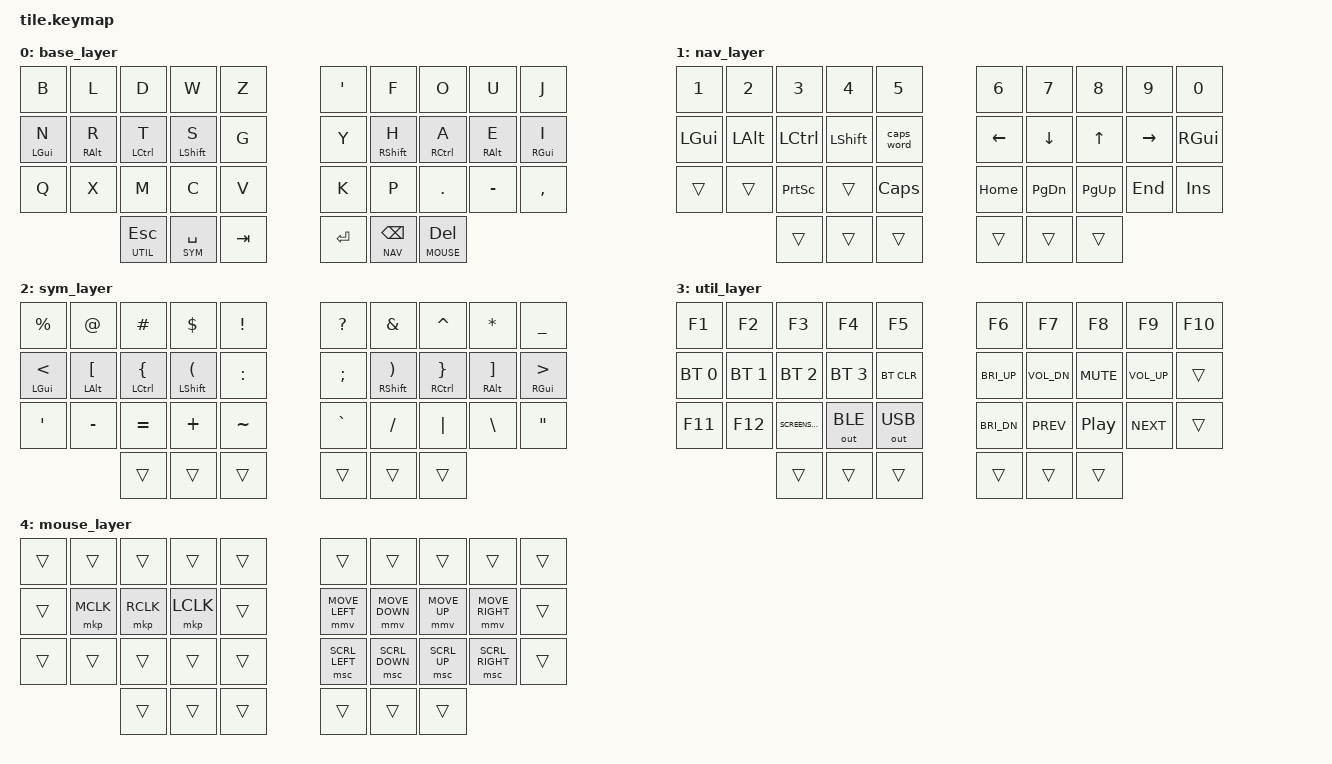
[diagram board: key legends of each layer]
#include <behaviors.dtsi>
#include <dt-bindings/zmk/keys.h>
#include <dt-bindings/zmk/bt.h>
#include <dt-bindings/zmk/outputs.h>

#define ZMK_POINTING_DEFAULT_MOVE_VAL 1000  
#define ZMK_POINTING_DEFAULT_SCRL_VAL 15
#include <dt-bindings/zmk/pointing.h>

#define BASE  0
#define NAV   1
#define SYM   2
#define UTIL  3
#define MOUSE 4

/ {
    behaviors {
        hm: homerow_mods {
            compatible = "zmk,behavior-hold-tap";
            label = "HOMEROW_MODS";
            #binding-cells = <2>;
            tapping-term-ms = <300>;
            quick-tap-ms = <0>;
            flavor = "tap-preferred";
            bindings = <&kp>, <&kp>;
            require-prior-idle-ms = <150>; 
        };
    };

    keymap {
        compatible = "zmk,keymap";

        // =================================================================================================================================
        // BASE LAYER
        // =================================================================================================================================
        base_layer {
            bindings = <
            &kp B         &kp L            &kp D         &kp W          &kp Z             &kp SQT         &kp F               &kp O                &kp U             &kp J
            &hm LGUI N    &hm RALT R       &hm LCTRL T   &hm LSHFT S    &kp G             &kp Y           &hm RSHFT H         &hm RCTRL A          &hm RALT E        &hm RGUI I
            &kp Q         &kp X            &kp M         &kp C          &kp V             &kp K           &kp P               &kp DOT              &kp MINUS         &kp COMMA
                                           &lt UTIL ESC  &lt SYM SPACE  &kp TAB           &kp RET         &lt NAV BSPC        &lt MOUSE DEL
            >;
        };

        // =================================================================================================================================
        // NAV LAYER
        // =================================================================================================================================
        nav_layer {
            bindings = <
            &kp N1        &kp N2           &kp N3        &kp N4         &kp N5           &kp N6           &kp N7           &kp N8           &kp N9           &kp N0
            &kp LGUI      &kp LALT         &kp LCTRL     &kp LSHFT      &caps_word       &kp LEFT         &kp DOWN         &kp UP           &kp RIGHT        &kp RGUI
            &trans        &trans           &kp PSCRN     &trans         &kp CAPS         &kp HOME         &kp PG_DN        &kp PG_UP        &kp END          &kp INS
                                                         &trans         &trans           &trans           &trans           &trans           &trans
            >;
        };

        // =================================================================================================================================
        // SYM LAYER
        // =================================================================================================================================
        sym_layer {
            bindings = <
            &kp PRCNT     &kp AT           &kp HASH      &kp DLLR       &kp EXCL         &kp QMARK        &kp AMPS         &kp CARET         &kp STAR          &kp UNDER
            &hm LGUI LESS_THAN   &hm LALT LBKT  &hm LCTRL LBRC  &hm LSHFT LPAR  &kp COLON    &kp SEMI     &hm RSHFT RPAR   &hm RCTRL RBRC    &hm RALT RBKT     &hm RGUI GREATER_THAN
            &kp SQT       &kp MINUS        &kp EQUAL     &kp PLUS       &kp TILDE        &kp GRAVE        &kp FSLH         &kp PIPE          &kp BSLH          &kp DQT
                                                         &trans         &trans           &trans           &trans           &trans            &trans
            >;
        };

        // =================================================================================================================================
        // UTIL LAYER 
        // =================================================================================================================================
        util_layer {
            bindings = <
            &kp F1        &kp F2           &kp F3        &kp F4         &kp F5             &kp F6         &kp F7           &kp F8          &kp F9             &kp F10
            &bt BT_SEL 0  &bt BT_SEL 1     &bt BT_SEL 2  &bt BT_SEL 3   &bt BT_CLR         &kp C_BRI_UP   &kp C_VOL_DN     &kp K_MUTE      &kp C_VOL_UP       &trans
            &kp F11       &kp F12          &kp K_SCREENSAVER   &out OUT_BLE  &out OUT_USB             &kp C_BRI_DN   &kp C_PREV       &kp C_PP        &kp C_NEXT         &trans
                                                         &trans         &trans             &trans         &trans           &trans          &trans
            >;
        };

        // =================================================================================================================================
        // MOUSE LAYER
        // =================================================================================================================================
        mouse_layer {
            bindings = <
            &trans        &trans           &trans        &trans         &trans             &trans         &trans           &trans          &trans             &trans
            &trans        &mkp MCLK        &mkp RCLK     &mkp LCLK      &trans             &mmv MOVE_LEFT      &mmv MOVE_DOWN     &mmv MOVE_UP   &mmv MOVE_RIGHT       &trans
            &trans        &trans           &trans        &trans         &trans             &msc SCRL_LEFT      &msc SCRL_DOWN     &msc SCRL_UP   &msc SCRL_RIGHT       &trans
                                                         &trans         &trans             &trans         &trans           &trans          &trans
            >;
        };
    };
};
